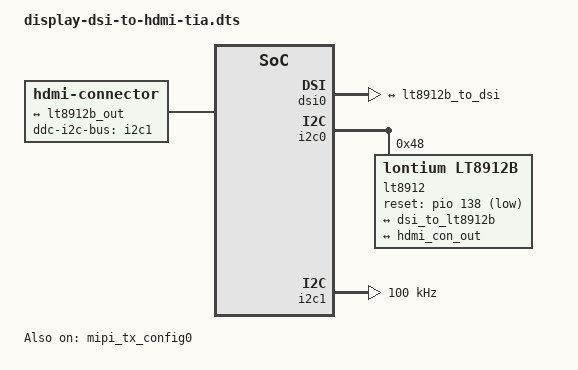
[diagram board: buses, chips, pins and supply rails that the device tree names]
/dts-v1/;
/plugin/;
#include <dt-bindings/gpio/gpio.h>
#include <dt-bindings/interrupt-controller/irq.h>
#include <dt-bindings/pinctrl/mt8189-pinfunc.h>

/ {
	fragment@0 {
		target = <&mipi_tx_config0>;
		__overlay__ {
			status = "okay";
		};
	};

	fragment@1 {
		target = <&dsi0>;
		__overlay__ {
			status = "okay";

			ports {
				port {
					dsi_to_lt8912b: endpoint {
						remote-endpoint = <&lt8912b_to_dsi>;
					};
				};
			};
		};
	};

	fragment@2 {
		target = <&i2c0>;
		__overlay__ {
		    lt8912: hdmi-bridge@48{
		        compatible = "lontium,lt8912b";
		        reg = <0x48>;
				pinctrl-names = "default";
				pinctrl-0 = <&lt8912b_default_pins>;
				status = "okay";

				reset-gpios = <&pio 138 GPIO_ACTIVE_LOW>;

		        ports {
		          #address-cells = <1>;
		          #size-cells = <0>;

					port@0 {
						reg = <0>;

						lt8912b_to_dsi: endpoint {
							data-lanes = <1 2 3 4>;
							remote-endpoint = <&dsi_to_lt8912b>;
						};
					};

					port@1 {
						reg = <1>;

						lt8912b_out: endpoint {
							remote-endpoint = <&hdmi_con_out>;
						};
					};
		    	};
			};
		};
	};

	fragment@3 {
		target = <&i2c1>;
		__overlay__ {
				clock-frequency=<100000>;
		};
	};

	fragment@4 {
		target-path = "/";
		__overlay__ {
			hdmi-out {
				compatible = "hdmi-connector";
				ddc-i2c-bus = <&i2c1>;

				label = "hdmi";
				type = "a";

				port {
					hdmi_con_out: endpoint {
						remote-endpoint = <&lt8912b_out>;
					};
				};
			};
		};
	};

	fragment@5 {
		target = <&pio>;
		__overlay__ {
			lt8912b_default_pins: lt8912b-default-pins {
				lt8912b-reset-pins {
					pinmux = <PINMUX_GPIO138__FUNC_GPIO138>;
					output-high;
					bias-disable;
				};
				lt8912b-int-pins {
					pinmux = <PINMUX_GPIO137__FUNC_GPIO137>;
					input-enable;
					bias-disable;
				};
			};
		};
	};
};
